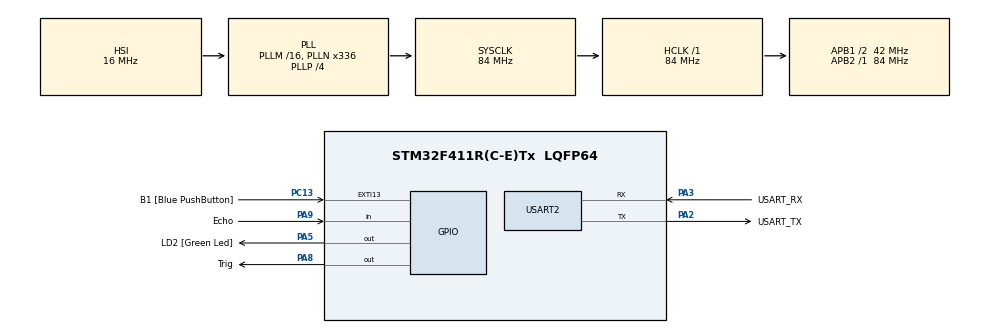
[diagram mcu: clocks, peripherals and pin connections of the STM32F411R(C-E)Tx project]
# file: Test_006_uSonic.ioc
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Mcu.Family=STM32F4
Mcu.Name=STM32F411R(C-E)Tx
Mcu.Package=LQFP64
NVIC.PriorityGroup=NVIC_PRIORITYGROUP_0
PA13.GPIO_Label=TMS
PA13.Mode=Serial_Wire
PA13.Signal=SYS_JTMS-SWDIO
PA14.GPIO_Label=TCK
PA14.Mode=Serial_Wire
PA14.Signal=SYS_JTCK-SWCLK
PA2.GPIO_Label=USART_TX
PA2.Mode=Asynchronous
PA2.Signal=USART2_TX
PA3.GPIO_Label=USART_RX
PA3.Mode=Asynchronous
PA3.Signal=USART2_RX
PA5.GPIO_Label=LD2 [Green Led]
PA5.Signal=GPIO_Output
PA8.GPIO_Label=Trig
PA8.Signal=GPIO_Output
PA9.GPIO_Label=Echo
PA9.Signal=GPIO_Input
PB3.GPIO_Label=SWO
PB3.Signal=SYS_JTDO-SWO
PC13-ANTI_TAMP.GPIO_Label=B1 [Blue PushButton]
PC13-ANTI_TAMP.GPIO_ModeDefaultEXTI=GPIO_MODE_IT_FALLING
PC13-ANTI_TAMP.Signal=GPXTI13
PC14-OSC32_IN.Mode=LSE-External-Oscillator
PC14-OSC32_IN.Signal=RCC_OSC32_IN
PC15-OSC32_OUT.Mode=LSE-External-Oscillator
PC15-OSC32_OUT.Signal=RCC_OSC32_OUT
PH0\ -\ OSC_IN.Mode=HSE-External-Clock-Source
PH0\ -\ OSC_IN.Signal=RCC_OSC_IN
PH1\ -\ OSC_OUT.Mode=HSE-External-Clock-Source
PH1\ -\ OSC_OUT.Signal=RCC_OSC_OUT
ProjectManager.HeapSize=0x200
ProjectManager.StackSize=0x400
ProjectManager.TargetToolchain=STM32CubeIDE
RCC.48MHZClocksFreq_Value=84000000
RCC.AHBFreq_Value=84000000
RCC.APB1CLKDivider=RCC_HCLK_DIV2
RCC.APB1Freq_Value=42000000
RCC.APB1TimFreq_Value=84000000
RCC.APB2Freq_Value=84000000
RCC.APB2TimFreq_Value=84000000
RCC.CortexFreq_Value=84000000
RCC.FLatency-AdvancedSettings=FLASH_LATENCY_2
RCC.HCLKFreq_Value=84000000
RCC.HSE_VALUE=8000000
RCC.HSI_VALUE=16000000
RCC.PLLN=336
RCC.PLLP=RCC_PLLP_DIV4
RCC.SYSCLKFreq_VALUE=84000000
RCC.SYSCLKSource=RCC_SYSCLKSOURCE_PLLCLK
RCC.VCOOutputFreq_Value=336000000
TIM2.Prescaler=84-1
USART2.VirtualMode=VM_ASYNC
VP_TIM2_VS_ClockSourceINT.Mode=Internal
board=NUCLEO-F411RE

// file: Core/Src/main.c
/* USER CODE BEGIN Header */
/**
  ******************************************************************************
  * @file           : main.c
  * @brief          : Main program body
  ******************************************************************************
  * @attention
  *
  * Copyright (c) 2025 STMicroelectronics.
  * All rights reserved.
  *
  * This software is licensed under terms that can be found in the LICENSE file
  * in the root directory of this software component.#include "delay.h"
  * If no LICENSE file comes with this software, it is provided AS-IS.
  *
  ******************************************************************************
  */
/* USER CODE END Header */
#include "main.h"
/* USER CODE BEGIN Includes */
//#include "delay.h"
#include <stdio.h>
/* USER CODE END Includes */

TIM_HandleTypeDef htim2;

UART_HandleTypeDef huart2;

void SystemClock_Config(void);
static void MX_GPIO_Init(void);
static void MX_USART2_UART_Init(void);
static void MX_TIM2_Init(void);

/* USER CODE BEGIN 0 */
void microDelay(int us)  // ms : micro second
{
	htim2.Instance->CNT = 0;
	while(htim2.Instance->CNT < us);
}
void Trigger()
{
	  HAL_GPIO_WritePin(Trig_GPIO_Port,Trig_Pin,0);
	  microDelay(10);
	  HAL_GPIO_WritePin(Trig_GPIO_Port,Trig_Pin,1);
	  microDelay(10);
	  HAL_GPIO_WritePin(Trig_GPIO_Port,Trig_Pin,0);
}
double Distance()
{
	  int t0 = 0, t1, t2;

	  htim2.Instance->CNT = 0;
	  Trigger();
	  while(HAL_GPIO_ReadPin(Echo_GPIO_Port, Echo_Pin) == 0 );
	  {
		  if(htim2.Instance->CNT > 30000) return - 1; // TimeOut
	  }
	  t1 = htim2.Instance->CNT;
	  while(HAL_GPIO_ReadPin(Echo_GPIO_Port, Echo_Pin) == 1);
	  {
		  if(htim2.Instance->CNT > t1 + 60000) return - 1; // TimeOut
	  }
	  t2 = htim2.Instance->CNT;

	  double dist = (t2 - t1) * 0.17;
	  return dist;

}
/* USER CODE END 0 */

int main(void)
{

  /* MCU Configuration--------------------------------------------------------*/

  /* Reset of all peripherals, Initializes the Flash interface and the Systick. */
  HAL_Init();

  /* Configure the system clock */
  SystemClock_Config();

  /* Initialize all configured peripherals */
  MX_GPIO_Init();
  MX_USART2_UART_Init();
  MX_TIM2_Init();
  /* USER CODE BEGIN 2 */
  ProgramStart("Ultra Sonic SR-04(SRF-05)");
  HAL_TIM_Base_Start(&htim2);
  /* USER CODE END 2 */

  /* Infinite loop */
  while (1)
  {

    /* USER CODE BEGIN 3 */

	  double dist = Distance();

	  printf("Distance : %f\r\n",dist);
	  HAL_Delay(500);

  }
  /* USER CODE END 3 */
}

void SystemClock_Config(void)
{
  RCC_OscInitTypeDef RCC_OscInitStruct = {0};
  RCC_ClkInitTypeDef RCC_ClkInitStruct = {0};

  /** Configure the main internal regulator output voltage
  */
  __HAL_RCC_PWR_CLK_ENABLE();
  __HAL_PWR_VOLTAGESCALING_CONFIG(PWR_REGULATOR_VOLTAGE_SCALE1);

  /** Initializes the RCC Oscillators according to the specified parameters
  * in the RCC_OscInitTypeDef structure.
  */
  RCC_OscInitStruct.OscillatorType = RCC_OSCILLATORTYPE_HSI;
  RCC_OscInitStruct.HSIState = RCC_HSI_ON;
  RCC_OscInitStruct.HSICalibrationValue = RCC_HSICALIBRATION_DEFAULT;
  RCC_OscInitStruct.PLL.PLLState = RCC_PLL_ON;
  RCC_OscInitStruct.PLL.PLLSource = RCC_PLLSOURCE_HSI;
  RCC_OscInitStruct.PLL.PLLM = 16;
  RCC_OscInitStruct.PLL.PLLN = 336;
  RCC_OscInitStruct.PLL.PLLP = RCC_PLLP_DIV4;
  RCC_OscInitStruct.PLL.PLLQ = 4;
  if (HAL_RCC_OscConfig(&RCC_OscInitStruct) != HAL_OK)
  {
    Error_Handler();
  }

  /** Initializes the CPU, AHB and APB buses clocks
  */
  RCC_ClkInitStruct.ClockType = RCC_CLOCKTYPE_HCLK|RCC_CLOCKTYPE_SYSCLK
                              |RCC_CLOCKTYPE_PCLK1|RCC_CLOCKTYPE_PCLK2;
  RCC_ClkInitStruct.SYSCLKSource = RCC_SYSCLKSOURCE_PLLCLK;
  RCC_ClkInitStruct.AHBCLKDivider = RCC_SYSCLK_DIV1;
  RCC_ClkInitStruct.APB1CLKDivider = RCC_HCLK_DIV2;
  RCC_ClkInitStruct.APB2CLKDivider = RCC_HCLK_DIV1;

  if (HAL_RCC_ClockConfig(&RCC_ClkInitStruct, FLASH_LATENCY_2) != HAL_OK)
  {
    Error_Handler();
  }
}

static void MX_TIM2_Init(void)
{

  TIM_ClockConfigTypeDef sClockSourceConfig = {0};
  TIM_MasterConfigTypeDef sMasterConfig = {0};

  htim2.Instance = TIM2;
  htim2.Init.Prescaler = 84-1;
  htim2.Init.CounterMode = TIM_COUNTERMODE_UP;
  htim2.Init.Period = 4294967295;
  htim2.Init.ClockDivision = TIM_CLOCKDIVISION_DIV1;
  htim2.Init.AutoReloadPreload = TIM_AUTORELOAD_PRELOAD_DISABLE;
  if (HAL_TIM_Base_Init(&htim2) != HAL_OK)
  {
    Error_Handler();
  }
  sClockSourceConfig.ClockSource = TIM_CLOCKSOURCE_INTERNAL;
  if (HAL_TIM_ConfigClockSource(&htim2, &sClockSourceConfig) != HAL_OK)
  {
    Error_Handler();
  }
  sMasterConfig.MasterOutputTrigger = TIM_TRGO_RESET;
  sMasterConfig.MasterSlaveMode = TIM_MASTERSLAVEMODE_DISABLE;
  if (HAL_TIMEx_MasterConfigSynchronization(&htim2, &sMasterConfig) != HAL_OK)
  {
    Error_Handler();
  }

}

static void MX_USART2_UART_Init(void)
{

  huart2.Instance = USART2;
  huart2.Init.BaudRate = 115200;
  huart2.Init.WordLength = UART_WORDLENGTH_8B;
  huart2.Init.StopBits = UART_STOPBITS_1;
  huart2.Init.Parity = UART_PARITY_NONE;
  huart2.Init.Mode = UART_MODE_TX_RX;
  huart2.Init.HwFlowCtl = UART_HWCONTROL_NONE;
  huart2.Init.OverSampling = UART_OVERSAMPLING_16;
  if (HAL_UART_Init(&huart2) != HAL_OK)
  {
    Error_Handler();
  }

}

static void MX_GPIO_Init(void)
{
  GPIO_InitTypeDef GPIO_InitStruct = {0};

  /* GPIO Ports Clock Enable */
  __HAL_RCC_GPIOC_CLK_ENABLE();
  __HAL_RCC_GPIOH_CLK_ENABLE();
  __HAL_RCC_GPIOA_CLK_ENABLE();
  __HAL_RCC_GPIOB_CLK_ENABLE();

  /*Configure GPIO pin Output Level */
  HAL_GPIO_WritePin(GPIOA, LD2_Pin|Trig_Pin, GPIO_PIN_RESET);

  /*Configure GPIO pin : B1_Pin */
  GPIO_InitStruct.Pin = B1_Pin;
  GPIO_InitStruct.Mode = GPIO_MODE_IT_FALLING;
  GPIO_InitStruct.Pull = GPIO_NOPULL;
  HAL_GPIO_Init(B1_GPIO_Port, &GPIO_InitStruct);

  /*Configure GPIO pins : LD2_Pin Trig_Pin */
  GPIO_InitStruct.Pin = LD2_Pin|Trig_Pin;
  GPIO_InitStruct.Mode = GPIO_MODE_OUTPUT_PP;
  GPIO_InitStruct.Pull = GPIO_NOPULL;
  GPIO_InitStruct.Speed = GPIO_SPEED_FREQ_LOW;
  HAL_GPIO_Init(GPIOA, &GPIO_InitStruct);

  /*Configure GPIO pin : Echo_Pin */
  GPIO_InitStruct.Pin = Echo_Pin;
  GPIO_InitStruct.Mode = GPIO_MODE_INPUT;
  GPIO_InitStruct.Pull = GPIO_NOPULL;
  HAL_GPIO_Init(Echo_GPIO_Port, &GPIO_InitStruct);

}

void Error_Handler(void)
{
  __disable_irq();
  while (1)
  {
  }
}
